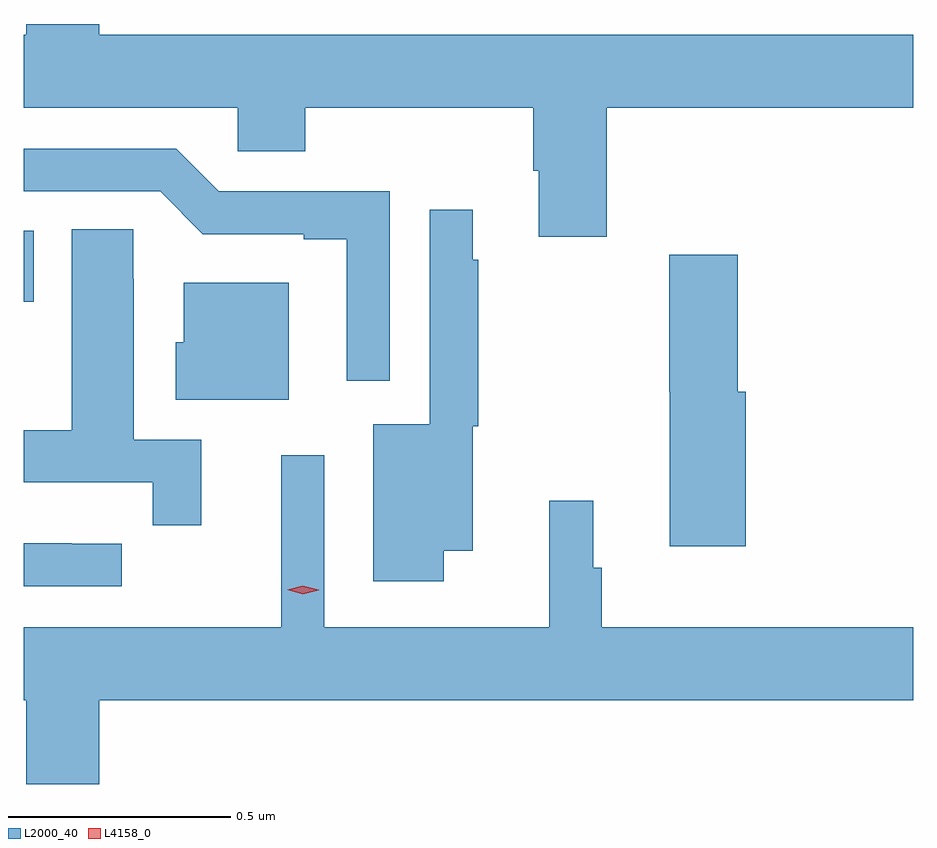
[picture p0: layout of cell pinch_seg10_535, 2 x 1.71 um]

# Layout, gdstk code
import gdstk
lib = gdstk.Library(unit=1e-6, precision=1e-09)
def R(c, l, rs):  # rectangles x0, y0, x1, y1
    for r in rs: c.add(gdstk.rectangle(r[:2], r[2:], *l))
def P(c, l, *ps):  # polygons
    for p in ps: c.add(gdstk.Polygon(p, *l))
L2000_40 = (2000, 40)
L4158_0 = (4158, 0)

pinch_seg10_535 = lib.new_cell('pinch_seg10_535')
R(pinch_seg10_535, L2000_40, [(260.906,1299.88,260.929,1300.039)])
P(pinch_seg10_535, L2000_40, [(262.217,1300.316),(262.906,1300.316),(262.906,1300.48),(261.076,1300.48),(261.076,1300.504),(260.912,1300.504),(260.912,1300.48),(260.906,1300.48),(260.906,1300.316),(261.387,1300.316),(261.387,1300.218),(261.539,1300.218),(261.539,1300.316),(262.052,1300.316),(262.052,1300.174),(262.064,1300.174),(262.064,1300.026),(262.217,1300.026)],
  [(261.729,1300.128),(261.345,1300.128),(261.249,1300.224),(260.906,1300.224),(260.906,1300.128),(261.213,1300.128),(261.309,1300.032),(261.536,1300.032),(261.536,1300.02),(261.632,1300.02),(261.632,1299.702),(261.729,1299.702)],
  [(261.85,1299.32),(261.916,1299.32),(261.916,1299.6),(261.928,1299.6),(261.928,1299.974),(261.916,1299.974),(261.916,1300.087),(261.819,1300.087),(261.819,1299.604),(261.692,1299.604),(261.692,1299.252),(261.85,1299.252)],
  [(261.305,1299.57),(261.154,1299.57),(261.154,1299.932),(261.153,1299.932),(261.153,1300.043),(261.014,1300.043),(261.014,1299.591),(260.906,1299.591),(260.906,1299.474),(261.196,1299.474),(261.196,1299.378),(261.305,1299.378)],
  [(262.529,1299.678),(262.511,1299.678),(262.511,1299.985),(262.357,1299.985),(262.357,1299.678),(262.358,1299.678),(262.358,1299.33),(262.529,1299.33)],
  [(261.502,1299.922),(261.266,1299.922),(261.266,1299.789),(261.248,1299.789),(261.248,1299.659),(261.502,1299.659)],
  [(261.076,1298.984),(262.906,1298.984),(262.906,1299.148),(262.205,1299.148),(262.205,1299.282),(262.186,1299.282),(262.186,1299.433),(262.087,1299.433),(262.087,1299.148),(261.582,1299.148),(261.582,1299.535),(261.485,1299.535),(261.485,1299.148),(260.906,1299.148),(260.906,1298.984),(260.912,1298.984),(260.912,1298.796),(261.076,1298.796)],
  [(261.127,1299.336),(261.014,1299.336),(261.014,1299.337),(260.906,1299.337),(260.906,1299.24),(261.127,1299.24)])
P(pinch_seg10_535, L4158_0, [(261.534,1299.222),(261.499,1299.232),(261.499,1299.233),(261.499,1299.233),(261.534,1299.242),(261.569,1299.232),(261.569,1299.231),(261.569,1299.231)])

lib.write_gds('pinch_seg10_535.gds')
